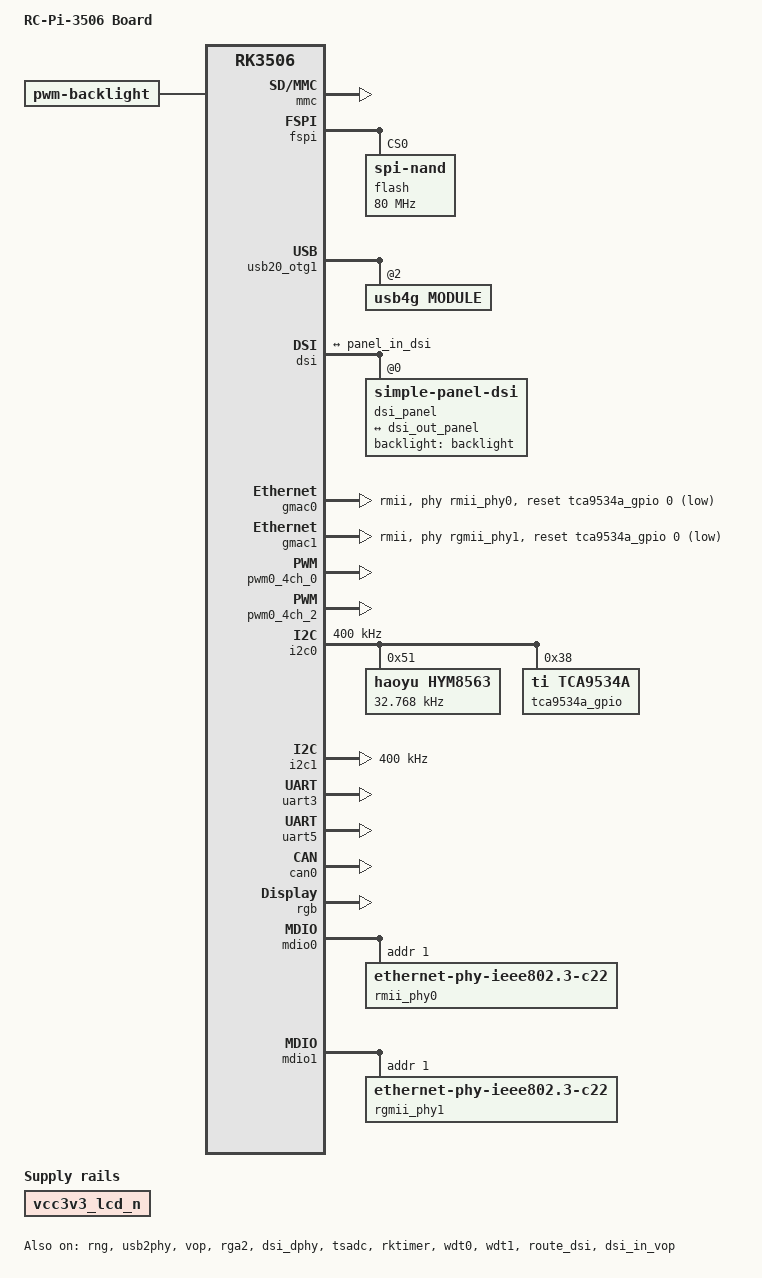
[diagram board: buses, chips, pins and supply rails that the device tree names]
/**
 * RT-Thread RuiChing
 *
 * COPYRIGHT (C) 2024-2025 Shanghai Real-Thread Electronic Technology Co., Ltd.
 * All rights reserved.
 *
 * The license and distribution terms for this file may be
 * found in the file LICENSE in this distribution.
 */
/dts-v1/;
#include <dt-bindings/display/drm_mipi_dsi.h>
#include <dt-bindings/input/rk-input.h>
#include <dt-bindings/suspend/rockchip-rk3506.h>

#include "rk3506.dtsi"

/ {
    model = "RC-Pi-3506 Board";
    compatible = "rc-pi-3506";

    chosen {
        bootargs = "earlycon=uart8250,mmio32,0xff0b0000 console=ttyFIQ0 ubi.mtd=5 root=ubi0:rootfs rw rootfstype=ubifs rootwait snd_aloop.index=7 snd_aloop.use_raw_jiffies=1";
    };

    fiq_debugger: fiq-debugger {
        compatible = "rockchip,fiq-debugger";
        rockchip,serial-id = <1>;
        rockchip,wake-irq = <0>;
        rockchip,irq-mode-enable = <1>;
        rockchip,baudrate = <115200>;	/* Only 115200 and 1500000 */
        interrupts = <GIC_SPI 115 IRQ_TYPE_LEVEL_HIGH>;
    };
};

&rng {
    status = "okay";
};

&mmc {
    pinctrl = <&gpio3_a0 &gpio3_a1 &gpio3_a2 &gpio3_a3 &gpio3_a4 &gpio3_a5>;
	status = "okay";
};

&fspi {
    status = "okay";

    flash@0 {
        compatible = "spi-nand";
        reg = <0>;
        spi-max-frequency = <80000000>;
        spi-rx-bus-width = <4>;
        spi-tx-bus-width = <1>;
    };
};

&sai0 {
    status = "disabled";
};

&sai1 {
    pinctrl = <&gpio0_b0 &gpio0_b1 &gpio0_b2 &gpio0_b3 &gpio0_b4>;
    status = "disabled";
};

&sai2 {
    status = "disabled";
};

&sai3 {
    status = "disabled";
};

&sai4 {
    status = "disabled";
};

&spdif_tx {
    status = "disabled";
};

&spdif_rx {
    status = "disabled";
};

&pdm {
	status = "disabled";
};

&acdcdig_dsm {
    status = "disabled";
};

&audio_codec {
	status = "disabled";
};

&asrc0 {
	status = "disabled";
};

&asrc1 {
	status = "disabled";
};

&usb20_otg0 {
	status = "disabled";
};

&usb20_otg1 {
	status = "okay";

    usb4g: usb4g@2 {
        compatible = "usb4g,module";
        vendor_id = <0x2c7c>;
        product_id = <0x0120>;

        at_port: at_port@4{
            compatible = "usb4g,at_port";
            match_flags = <0x23>; /* 只通过设备ID、产品ID和 AT 接口号匹配 */
            bInterfaceClass = <0xff>;
            bInterfaceSubClass = <0x00>;
            bInterfaceProtocol = <0x00>;
            bNumInterfaces = <4>; /* USB 转 AT 接口 */
            protocol_switch_cmd = "AT+QCFG=\"usbnet\",1\r\n"; /* USB 切换协议命令 */
        };

        rndis_port: rndis_port@0{
            compatible = "usb4g,rndis_port";
            match_flags = <0x1c>;
            bInterfaceClass = <0xe0>;
            bInterfaceSubClass = <0x01>;
            bInterfaceProtocol = <0x03>;
            bNumInterfaces = <0>;
        };

        ecm_port: ecm_port@2{
            compatible = "usb4g,ecm_port";
            match_flags = <0x1c>;
            bInterfaceClass = <0x2>;
            bInterfaceSubClass = <0x06>;
            bInterfaceProtocol = <0x00>;
            bNumInterfaces = <2>;
        };
    };
};

&usb2phy {
	status = "okay";
};

&vop {
    status = "disabled";
};

&rga2 {
	status = "okay";
};

&dsi {
	status = "disabled";
};

&dsi_dphy {
	status = "disabled";
};

&display_subsystem {
	status = "disabled";
};

&gmac0 {
    /* Use rgmii-rxid mode to disable rx delay inside Soc */
    phy-mode = "rmii";
    clock_in_out = "output";
    snps,reset-gpio = <&tca9534a_gpio 0 GPIO_ACTIVE_LOW>;
    snps,reset-active-low;
    /* Reset time is 20ms, 100ms for rtl8211f */
    snps,reset-delays-us = <0 10000 100000>;
    compatible = "rockchip,rk3506-gmac", "snps,dwmac-4.20a";
    tx_delay = <0x1a>;
    rx_delay = <0x21>;
    phy-handle = <&rmii_phy0>;
    pinctrl = <&gpio2_b6 &gpio2_b7 &gpio2_b3 &gpio2_b4 &gpio2_b5 &gpio2_b0 &gpio2_b1 &gpio2_c0 &gpio2_b2>;
    status = "okay";
};

&gmac1 {
    phy-mode = "rmii";
    clock_in_out = "output";
    snps,reset-gpio = <&tca9534a_gpio 0 GPIO_ACTIVE_LOW>;
    snps,reset-active-low;
    /* Reset time is 20ms, 100ms for rtl8211f */
    snps,reset-delays-us = <0 20000 100000>;
    tx_delay = <0x19>;
    rx_delay = <0x22>;
    phy-handle = <&rgmii_phy1>;
    pinctrl = <&gpio3_b1 &gpio3_b2 &gpio3_b3 &gpio3_a6 &gpio3_a7 &gpio3_b6 &gpio3_b0 &gpio3_b4 &gpio3_b5>;
    status = "okay";
};

&saradc {
	status = "disabled";
};

&tsadc {
	status = "okay";
};

&rktimer {
    status = "okay";
};

&wdt0 {
	status = "okay";
};

&wdt1 {
	status = "okay";
};

&spi0 {
    status = "disabled";
};

&spi1 {
    status = "disabled";
};

&pwm0_4ch_0 {
    status = "okay";
};

&pwm0_4ch_1 {
    status = "disabled";
};

&pwm0_4ch_2 {
    pinctrl = <&gpio0_c2>;
    status = "okay";
};

&pwm0_4ch_3 {
	status = "disabled";
};

&pwm1_8ch_0 {
	status = "disabled";
};

&pwm1_8ch_1 {
	status = "disabled";
};

&pwm1_8ch_2 {
	status = "disabled";
};

&pwm1_8ch_3 {
	status = "disabled";
};

&pwm1_8ch_4 {
	status = "disabled";
};

&pwm1_8ch_5 {
	status = "disabled";
};

&pwm1_8ch_6 {
	status = "disabled";
};

&pwm1_8ch_7 {
	status = "disabled";
};

&i2c0 {
    pinctrl = <&gpio0_b6 &gpio0_b7>;
    clock-frequency = <400000>;
    status = "okay";

    hym8563: hym8563@51 {
        compatible = "haoyu,hym8563";
        reg = <0x51>;
        #clock-cells = <0>;
        clock-frequency = <32768>;
        clock-output-names = "hym8563-32k";
    };

    tca9534a_gpio: tca9534a@38 {
        compatible = "ti,tca9534a";
        reg = <0x38>;

        #gpio-cells = <2>;
        gpio-controller;
        gpio-ranges = <&tca9534a_gpio 0 160 8>;
    };
};

&i2c1 {
    pinctrl = <&gpio0_a0 &gpio0_a1>;
    clock-frequency = <400000>;
    status = "okay";
};

&i2c2 {
    status = "disabled";
};

&uart0 {
    pinctrl = <&gpio0_c6 &gpio0_c7>;
    status = "disabled";
};

&uart1 {
    pinctrl = <&gpio0_a2 &gpio0_a3>;
    status = "disabled";
};

&uart2 {
    status = "disabled";
};

&uart3 {
    pinctrl = <&gpio0_a4 &gpio0_a5 &gpio0_a6 &gpio0_a7>;
    status = "okay";
};

&uart4 {
    status = "disable";
};

&uart5 {
    pinctrl = <&gpio1_d1 &gpio1_d2 &gpio1_d3>;
    status = "okay";
};

&rktimer {
    interrupt-affinity = <&cpu0>, <&cpu0>, <&cpu0>, <&cpu2>, <&cpu2>, <&cpu2>;
};

&can0 {
    assigned-clocks = <&cru CLK_CAN0>;
    assigned-clock-rates = <200000000>;
    pinctrl = <&gpio0_c3 &gpio0_c4>;
    status = "okay";
};

&can1 {
    assigned-clocks = <&cru CLK_CAN0>;
    assigned-clock-rates = <200000000>;
    status = "disabled";
};

&flexbus {
	status = "disabled";
};

&dsmc {
    status = "disabled";
};

&dsmc_lb_slave {
    status = "disabled";
};

&cma {
    size = <0x800000>;
};

&rgb {
    status = "okay";
};

&mdio0 {
    rmii_phy0: phy@1 {
        compatible = "ethernet-phy-ieee802.3-c22";
        reg = <0x1>;
        //clocks = <&cru REFCLKO25M_GMAC0_OUT>;
    };
};

&mdio1 {
    rgmii_phy1: phy@1 {
        compatible = "ethernet-phy-ieee802.3-c22";
        reg = <0x1>;
        //clocks = <&cru REFCLKO25M_GMAC1_OUT>;
    };
};

&gpio0_c2 {
	rmio = <0x20>;
	mux = <0x07>;
};

&gpio0_c6 {
    mux = <0x01>;
};

&gpio0_c7 {
    mux = <0x01>;
};

&gpio0_a2 {
    mux = <0x07>;
    rmio = <0x01>;
};

&gpio0_a3 {
    mux = <0x07>;
    rmio = <0x02>;
};

&gpio0_a4 {
    mux = <0x07>;
    rmio = <0x05>;
};

&gpio0_a5 {
    mux = <0x07>;
    rmio = <0x06>;
};

&gpio0_a6 {
    mux = <0x07>;
    rmio = <0x07>;
};

&gpio0_a7 {
    mux = <0x07>;
    rmio = <0x08>;
};

&gpio1_d1 {
    mux = <0x06>;
};

&gpio1_d2 {
    mux = <0x06>;
};

&gpio1_d3 {
    mux = <0x06>;
};

&gpio0_b6 {
    mux = <0x07>;
    rmio = <0x0F>;
    pull-up-down = <0x01>;
};

&gpio0_b7 {
    mux = <0x07>;
    rmio = <0x10>;
    pull-up-down = <0x01>;
};

&gpio0_a0 {
    mux = <0x07>;
    rmio = <0x12>;
};

&gpio0_a1 {
    mux = <0x07>;
    rmio = <0x11>;
};

&gpio0_c3 {
    mux = <0x07>;
    rmio = <28>;
};

&gpio0_c4 {
    mux = <0x07>;
    rmio = <29>;
};

&gpio2_b6 {
    mux = <0x01>;
};

&gpio2_b7 {
    mux = <0x01>;
};

&gpio2_b3 {
    mux = <0x01>;
};

&gpio2_b4 {
    mux = <0x01>;
};

&gpio2_b5 {
    mux = <0x01>;
};

&gpio2_b0 {
    mux = <0x01>;
};

&gpio2_b1 {
    mux = <0x01>;
};

&gpio2_c0 {
    mux = <0x01>;
};

&gpio2_b2 {
    mux = <0x01>;
};

&gpio3_b1 {
    mux = <0x02>;
};

&gpio3_a0 {
    mux = <0x01>;
};

&gpio3_a1 {
    mux = <0x01>;
};

&gpio3_a2 {
    mux = <0x01>;
};

&gpio3_a3 {
    mux = <0x01>;
};

&gpio3_a4 {
    mux = <0x01>;
};

&gpio3_a5 {
    mux = <0x01>;
};

&gpio3_b2 {
    mux = <0x02>;
};

&gpio3_b3 {
    mux = <0x02>;
};

&gpio3_a6 {
    mux = <0x02>;
};

&gpio3_a7 {
    mux = <0x02>;
};

&gpio3_b6 {
    mux = <0x02>;
};

&gpio3_b0 {
    mux = <0x02>;
};

&gpio3_b4 {
    mux = <0x02>;
};

&gpio3_b5 {
    mux = <0x02>;
};

&gpio0_b1 {
    mux = <0x01>;
};

&gpio0_b2 {
    mux = <0x01>;
};

&gpio0_b3 {
    mux = <0x01>;
};

&gpio0_b4 {
    mux = <0x01>;
};

/{
    backlight: backlight {
        compatible = "pwm-backlight";
    };

    vcc3v3_lcd_n: vcc3v3-lcd0-n {
        compatible = "regulator-fixed";
        enable-active-high;
        //gpio = <&gpio4 RK_PB3 GPIO_ACTIVE_HIGH>;
        regulator-name = "vcc3v3_lcd_n";
        regulator-boot-on;
        regulator-state-mem {
            regulator-off-in-suspend;
        };
    };
};

&dsi {
    status = "okay";
    dsi_panel: panel@0 {
        status = "okay";
        compatible = "simple-panel-dsi";
        reg = <0>;
        backlight = <&backlight>;
        disable-delay-ms = <10>;
        unprepare-delay-ms = <5>;
        width-mm = <154>;
        height-mm = <85>;

        dsi,flags = <(MIPI_DSI_MODE_VIDEO | MIPI_DSI_MODE_VIDEO_BURST |
                    MIPI_DSI_MODE_LPM | MIPI_DSI_MODE_NO_EOT_PACKET)>;

        dsi,format = <MIPI_DSI_FMT_RGB888>;
        dsi,lanes  = <2>;

        disp_timings0: display-timings {
            native-mode = <&dsi_timing0>;
            dsi_timing0: timing0 {
            };
        };

        ports {
            #address-cells = <1>;
            #size-cells = <0>;
            port@0 {
                reg = <0>;
                panel_in_dsi: endpoint {
                    remote-endpoint = <&dsi_out_panel>;
                };
            };
        };
    };

    ports {
        #address-cells = <1>;
        #size-cells = <0>;
        port@1 {
            reg = <1>;
            dsi_out_panel: endpoint {
                remote-endpoint = <&panel_in_dsi>;
            };
        };
    };
};

&route_dsi {
    status = "okay";
};

&vop {
    status = "okay";
};

&dsi_dphy {
    status = "okay";
};

&dsi_in_vop {
    status = "okay";
};
